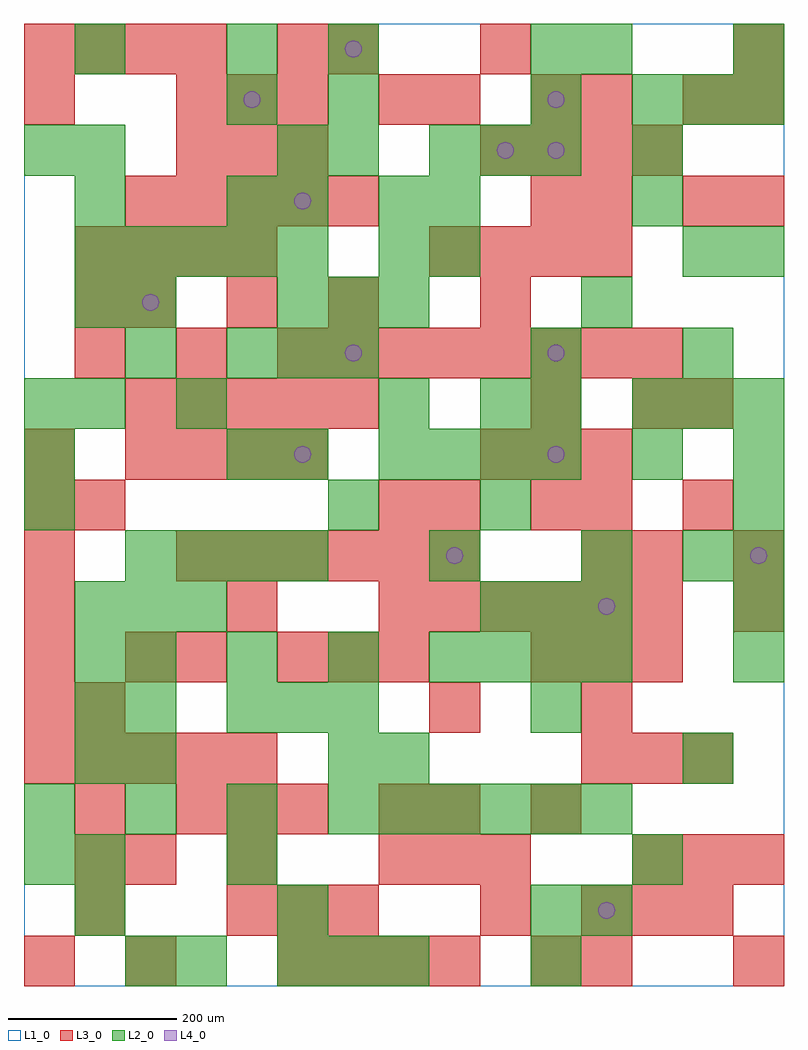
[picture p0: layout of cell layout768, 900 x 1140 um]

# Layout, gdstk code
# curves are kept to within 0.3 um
import gdstk
lib = gdstk.Library(unit=1e-6, precision=1e-09)
def R(c, l, rs):  # rectangles x0, y0, x1, y1
    for r in rs: c.add(gdstk.rectangle(r[:2], r[2:], *l))
def A(c, l, x, y, w, h, nx, ny, dx, dy):  # array of equal rectangles
    R(c, l, [(x+i*dx, y+j*dy, x+i*dx+w, y+j*dy+h) for i in range(nx) for j in range(ny)])
def P(c, l, *ps):  # polygons
    for p in ps: c.add(gdstk.Polygon(p, *l))
L1_0 = (1, 0)
L2_0 = (2, 0)
L3_0 = (3, 0)
L4_0 = (4, 0)

layout768 = lib.new_cell('layout768')
R(layout768, L1_0, [(0,0,900,1140)])
A(layout768, L2_0, 300, 0, 60, 60, 3, 2, 60, 780)
A(layout768, L2_0, 0, 180, 60, 60, 4, 1, 120, 0)
A(layout768, L2_0, 420, 180, 60, 60, 5, 1, 60, 0)
A(layout768, L2_0, 60, 240, 60, 60, 1, 3, 0, 60)
A(layout768, L2_0, 780, 240, 60, 60, 1, 3, 0, 240)
A(layout768, L2_0, 240, 300, 60, 60, 3, 2, 60, 420)
A(layout768, L2_0, 120, 360, 60, 60, 4, 1, 120, 0)
A(layout768, L2_0, 540, 360, 60, 60, 3, 2, 60, 60)
A(layout768, L2_0, 840, 360, 60, 60, 1, 5, 0, 60)
A(layout768, L2_0, 60, 420, 60, 60, 3, 1, 60, 0)
A(layout768, L2_0, 120, 480, 60, 60, 4, 1, 60, 0)
A(layout768, L2_0, 660, 480, 60, 60, 1, 3, 0, 300)
A(layout768, L2_0, 0, 540, 60, 60, 1, 3, 0, 60)
A(layout768, L2_0, 420, 600, 60, 60, 4, 1, 60, 0)
A(layout768, L2_0, 60, 660, 60, 60, 1, 3, 0, 120)
A(layout768, L2_0, 720, 660, 60, 60, 3, 2, 60, 360)
A(layout768, L2_0, 60, 840, 60, 60, 5, 1, 60, 0)
A(layout768, L2_0, 360, 960, 60, 60, 1, 3, 0, 60)
A(layout768, L2_0, 480, 960, 60, 60, 3, 1, 60, 0)
R(layout768, L2_0, [(120,0,180,60), (180,0,240,60), (600,0,660,60), (60,60,120,120), (300,60,360,120), (600,60,660,120), (660,60,720,120), (0,120,60,180), (60,120,120,180), (240,120,300,180), (720,120,780,180), (120,240,180,300), (360,240,420,300), (420,240,480,300), (120,300,180,360), (600,300,660,360), (480,480,540,540), (360,540,420,600), (540,540,600,600), (240,600,300,660), (300,600,360,660), (720,600,780,660), (180,660,240,720), (420,660,480,720), (540,660,600,720), (600,660,660,720), (120,720,180,780), (600,720,660,780), (120,780,180,840), (420,840,480,900), (480,840,540,900), (780,840,840,900), (840,840,900,900), (240,900,300,960), (300,900,360,960), (420,900,480,960), (480,900,540,960), (720,900,780,960), (0,960,60,1020), (60,960,120,1020), (300,960,360,1020), (720,960,780,1020), (240,1020,300,1080), (600,1020,660,1080), (60,1080,120,1140), (240,1080,300,1140), (600,1080,660,1140), (840,1080,900,1140)])
A(layout768, L3_0, 300, 0, 60, 60, 4, 1, 60, 0)
A(layout768, L3_0, 60, 60, 60, 60, 1, 3, 0, 60)
A(layout768, L3_0, 240, 60, 60, 60, 3, 1, 60, 0)
A(layout768, L3_0, 660, 60, 60, 60, 3, 2, 60, 180)
A(layout768, L3_0, 420, 120, 60, 60, 3, 1, 60, 0)
A(layout768, L3_0, 720, 120, 60, 60, 3, 1, 60, 0)
A(layout768, L3_0, 180, 180, 60, 60, 3, 2, 60, 780)
A(layout768, L3_0, 0, 240, 60, 60, 5, 1, 60, 0)
A(layout768, L3_0, 0, 300, 60, 60, 1, 6, 0, 60)
A(layout768, L3_0, 60, 300, 60, 60, 1, 3, 0, 240)
A(layout768, L3_0, 300, 360, 60, 60, 3, 1, 60, 0)
A(layout768, L3_0, 600, 360, 60, 60, 3, 1, 60, 0)
A(layout768, L3_0, 420, 420, 60, 60, 6, 1, 60, 0)
A(layout768, L3_0, 180, 480, 60, 60, 6, 1, 60, 0)
A(layout768, L3_0, 120, 600, 60, 60, 4, 1, 60, 0)
A(layout768, L3_0, 540, 600, 60, 60, 3, 1, 60, 0)
A(layout768, L3_0, 120, 660, 60, 60, 5, 2, 60, 240)
A(layout768, L3_0, 60, 720, 60, 60, 3, 1, 120, 0)
A(layout768, L3_0, 360, 720, 60, 60, 7, 1, 60, 0)
A(layout768, L3_0, 120, 780, 60, 60, 3, 1, 120, 0)
A(layout768, L3_0, 60, 840, 60, 60, 4, 1, 60, 0)
A(layout768, L3_0, 480, 840, 60, 60, 4, 1, 60, 0)
A(layout768, L3_0, 540, 960, 60, 60, 4, 1, 60, 0)
A(layout768, L3_0, 180, 1020, 60, 60, 3, 1, 60, 0)
A(layout768, L3_0, 0, 1080, 60, 60, 4, 1, 60, 0)
R(layout768, L3_0, [(0,0,60,60), (120,0,180,60), (600,0,660,60), (660,0,720,60), (840,0,900,60), (540,60,600,120), (120,120,180,180), (240,120,300,180), (420,180,480,240), (480,180,540,240), (600,180,660,240), (480,300,540,360), (660,300,720,360), (120,360,180,420), (180,360,240,420), (240,420,300,480), (840,420,900,480), (660,480,720,540), (720,480,780,540), (840,480,900,540), (420,540,480,600), (480,540,540,600), (600,540,660,600), (660,540,720,600), (780,540,840,600), (600,660,660,720), (720,660,780,720), (780,660,840,720), (540,780,600,840), (600,900,660,960), (660,900,720,960), (780,900,840,960), (840,900,900,960), (0,1020,60,1080), (420,1020,480,1080), (480,1020,540,1080), (600,1020,660,1080), (660,1020,720,1080), (780,1020,840,1080), (840,1020,900,1080), (300,1080,360,1140), (360,1080,420,1140), (540,1080,600,1140), (840,1080,900,1140)])
P(layout768, L4_0, [(160,810),(159.239,813.827),(157.071,817.071),(153.827,819.239),(150,820),(146.173,819.239),(142.929,817.071),(140.761,813.827),(140,810),(140.761,806.173),(142.929,802.929),(146.173,800.761),(150,800),(153.827,800.761),(157.071,802.929),(159.239,806.173)],
  [(280,1050),(279.239,1053.827),(277.071,1057.071),(273.827,1059.239),(270,1060),(266.173,1059.239),(262.929,1057.071),(260.761,1053.827),(260,1050),(260.761,1046.173),(262.929,1042.929),(266.173,1040.761),(270,1040),(273.827,1040.761),(277.071,1042.929),(279.239,1046.173)],
  [(340,630),(339.239,633.827),(337.071,637.071),(333.827,639.239),(330,640),(326.173,639.239),(322.929,637.071),(320.761,633.827),(320,630),(320.761,626.173),(322.929,622.929),(326.173,620.761),(330,620),(333.827,620.761),(337.071,622.929),(339.239,626.173)],
  [(340,930),(339.239,933.827),(337.071,937.071),(333.827,939.239),(330,940),(326.173,939.239),(322.929,937.071),(320.761,933.827),(320,930),(320.761,926.173),(322.929,922.929),(326.173,920.761),(330,920),(333.827,920.761),(337.071,922.929),(339.239,926.173)],
  [(400,750),(399.239,753.827),(397.071,757.071),(393.827,759.239),(390,760),(386.173,759.239),(382.929,757.071),(380.761,753.827),(380,750),(380.761,746.173),(382.929,742.929),(386.173,740.761),(390,740),(393.827,740.761),(397.071,742.929),(399.239,746.173)],
  [(400,1110),(399.239,1113.827),(397.071,1117.071),(393.827,1119.239),(390,1120),(386.173,1119.239),(382.929,1117.071),(380.761,1113.827),(380,1110),(380.761,1106.173),(382.929,1102.929),(386.173,1100.761),(390,1100),(393.827,1100.761),(397.071,1102.929),(399.239,1106.173)],
  [(520,510),(519.239,513.827),(517.071,517.071),(513.827,519.239),(510,520),(506.173,519.239),(502.929,517.071),(500.761,513.827),(500,510),(500.761,506.173),(502.929,502.929),(506.173,500.761),(510,500),(513.827,500.761),(517.071,502.929),(519.239,506.173)],
  [(580,990),(579.239,993.827),(577.071,997.071),(573.827,999.239),(570,1000),(566.173,999.239),(562.929,997.071),(560.761,993.827),(560,990),(560.761,986.173),(562.929,982.929),(566.173,980.761),(570,980),(573.827,980.761),(577.071,982.929),(579.239,986.173)],
  [(640,630),(639.239,633.827),(637.071,637.071),(633.827,639.239),(630,640),(626.173,639.239),(622.929,637.071),(620.761,633.827),(620,630),(620.761,626.173),(622.929,622.929),(626.173,620.761),(630,620),(633.827,620.761),(637.071,622.929),(639.239,626.173)],
  [(640,750),(639.239,753.827),(637.071,757.071),(633.827,759.239),(630,760),(626.173,759.239),(622.929,757.071),(620.761,753.827),(620,750),(620.761,746.173),(622.929,742.929),(626.173,740.761),(630,740),(633.827,740.761),(637.071,742.929),(639.239,746.173)],
  [(640,990),(639.239,993.827),(637.071,997.071),(633.827,999.239),(630,1000),(626.173,999.239),(622.929,997.071),(620.761,993.827),(620,990),(620.761,986.173),(622.929,982.929),(626.173,980.761),(630,980),(633.827,980.761),(637.071,982.929),(639.239,986.173)],
  [(640,1050),(639.239,1053.827),(637.071,1057.071),(633.827,1059.239),(630,1060),(626.173,1059.239),(622.929,1057.071),(620.761,1053.827),(620,1050),(620.761,1046.173),(622.929,1042.929),(626.173,1040.761),(630,1040),(633.827,1040.761),(637.071,1042.929),(639.239,1046.173)],
  [(700,90),(699.239,93.827),(697.071,97.071),(693.827,99.239),(690,100),(686.173,99.239),(682.929,97.071),(680.761,93.827),(680,90),(680.761,86.173),(682.929,82.929),(686.173,80.761),(690,80),(693.827,80.761),(697.071,82.929),(699.239,86.173)],
  [(700,450),(699.239,453.827),(697.071,457.071),(693.827,459.239),(690,460),(686.173,459.239),(682.929,457.071),(680.761,453.827),(680,450),(680.761,446.173),(682.929,442.929),(686.173,440.761),(690,440),(693.827,440.761),(697.071,442.929),(699.239,446.173)],
  [(880,510),(879.239,513.827),(877.071,517.071),(873.827,519.239),(870,520),(866.173,519.239),(862.929,517.071),(860.761,513.827),(860,510),(860.761,506.173),(862.929,502.929),(866.173,500.761),(870,500),(873.827,500.761),(877.071,502.929),(879.239,506.173)])

lib.write_gds('layout768.gds')
